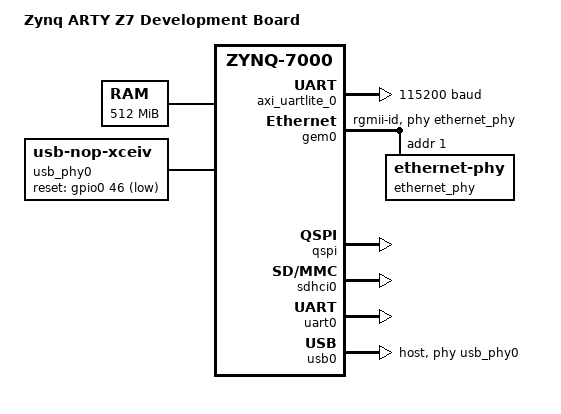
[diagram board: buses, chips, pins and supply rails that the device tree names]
/*
 * Digilent ARTY Z7 board DTS
 *
 *  Copyright (C) 2016 Digilent
 *
 * SPDX-License-Identifier:	GPL-2.0+
 */
/dts-v1/;
#include "zynq-7000.dtsi"

/ {
	amba_pl: amba_pl {
		#address-cells = <1>;
		#size-cells = <1>;
		compatible = "simple-bus";
		ranges ;
		axi_uartlite_0: serial@42c00000 {
			clock-names = "s_axi_aclk";
			clocks = <&clkc 15>;
			compatible = "xlnx,axi-uartlite-2.0", "xlnx,xps-uartlite-1.00.a";
			current-speed = <115200>;
			device_type = "serial";
			interrupt-names = "interrupt";
			interrupt-parent = <&intc>;
			interrupts = <0 29 1>;
			port-number = <0>;
			reg = <0x42c00000 0x10000>;
			xlnx,baudrate = <0x1c200>;
			xlnx,data-bits = <0x8>;
			xlnx,odd-parity = <0x0>;
			xlnx,s-axi-aclk-freq-hz-d = "100.0";
			xlnx,use-parity = <0x0>;
		};
	};
};

/ {
	model = "Zynq ARTY Z7 Development Board";
	compatible = "digilent,zynq-artyz7", "xlnx,zynq-7000";

	aliases {
		ethernet0 = &gem0;
		serial0 = &uart0;
		serial1 = &axi_uartlite_0;
		spi0 = &qspi;
		mmc0 = &sdhci0;
	};

	memory {
		device_type = "memory";
		reg = <0x0 0x20000000>;
	};

	chosen {
		bootargs = "";
		stdout-path = "serial0:115200n8";
	};

	usb_phy0: phy0 {
		compatible = "usb-nop-xceiv";
		#phy-cells = <0>;
		reset-gpios = <&gpio0 46 1>;
	};
};

&clkc {
	ps-clk-frequency = <50000000>;
};

&gem0 {
	status = "okay";
	phy-mode = "rgmii-id";
	phy-handle = <&ethernet_phy>;

	ethernet_phy: ethernet-phy@0 { /* rtl8211e-vl */
		reg = <1>;
	};
};

&qspi {
	u-boot,dm-pre-reloc;
	status = "okay";
};

&sdhci0 {
	u-boot,dm-pre-reloc;
	status = "okay";
};

&uart0 {
	u-boot,dm-pre-reloc;
	status = "okay";
};

&usb0 {
	status = "okay";
	dr_mode = "host";
	usb-phy = <&usb_phy0>;
};

&gpio0 {
	emio-gpio-width = <4>;
	gpio-mask-high = <0x0>;
	gpio-mask-low = <0x5600>;
};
